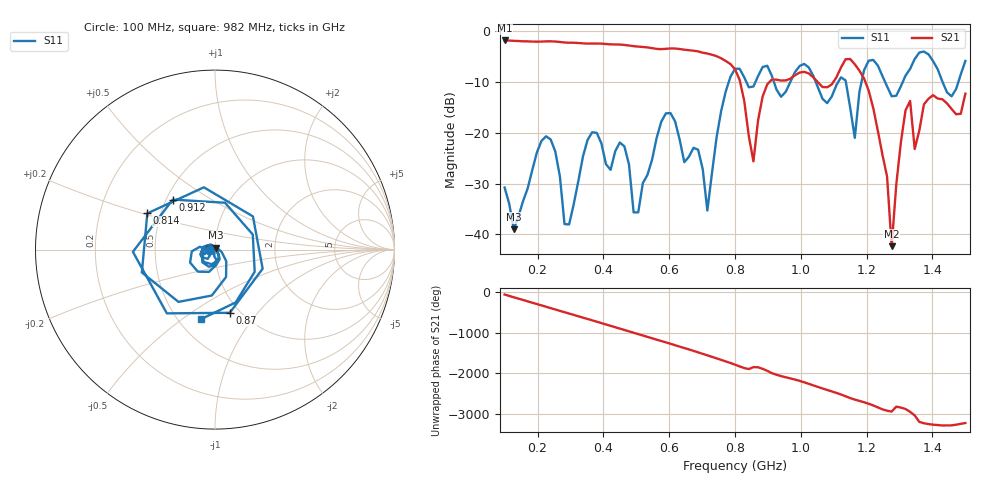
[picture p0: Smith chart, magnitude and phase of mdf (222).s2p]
! NanoVNA-App
! Date: 2025-09-25 15:40:09
! Start: 100MHz Stop: 1,5GHz Points: 101
! S-Parameter data: F S11 S21 S12 S22
# Hz S RI R 50
!  Frequency  S11_Real  S11_Imag  S21_Real  S21_Imag  S12_Real  S12_Imag  S22_Real  S22_Imag
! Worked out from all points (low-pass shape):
!   101 points, 100 MHz to 1.5 GHz, reference 50 ohm
!   highest |S21| = -1.80 dB at 100 MHz (marker M1); lowest = -42.3 dB at 1.276 GHz (marker M2)
!   |S21| within 3 dB of the highest: start of sweep to 739.1 MHz
!   lowest |S11| = -39.0 dB at 128 MHz (marker M3), VSWR 1.02, Z = 50.3 + j1.07 ohm
!   |S11| at or under -10 dB: start of sweep to 781 MHz; 918.4 MHz to 968 MHz (49.63 MHz wide, 5.26 % of centre); 1.045 GHz to 1.114 GHz (68.08 MHz wide, 6.31 % of centre) (the widest 3 of 7)
!   S12 and S22 are empty: the file has one direction only
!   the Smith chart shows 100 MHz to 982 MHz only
!   S11 on the Smith chart (normalised r, x): 100 MHz: 0.94, -0.01; 814 MHz: 0.42, +0.21; 870 MHz: 0.90, -0.73; 912 MHz: 0.54, +0.35; 982 MHz: 0.64, -0.59
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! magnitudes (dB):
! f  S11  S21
! 100 MHz  -30.8  -1.8
! 128 MHz  -39.0  -1.9
! 212 MHz  -21.6  -2.0
! 282 MHz  -38.0  -2.2
! 338 MHz  -24.7  -2.4
! 464 MHz  -22.7  -2.7
! 506 MHz  -35.7  -3.0
! 576 MHz  -17.8  -3.5
! 716 MHz  -35.3  -4.4
! 800 MHz  -7.4  -7.5
! 814 MHz  -7.4  -9.6
! 856 MHz  -10.9  -25.6
! 870 MHz  -8.8  -17.6
! 912 MHz  -8.8  -9.5
! 982 MHz  -8.1  -8.7
! 1.038 GHz  -8.8  -9.1
! 1.164 GHz  -21.0  -6.5
! 1.192 GHz  -7.7  -9.3
! 1.276 GHz  -12.8  -42.3
! 1.332 GHz  -7.4  -13.7
! 1.346 GHz  -5.5  -23.2
! 1.5 GHz  -5.8  -12.3
